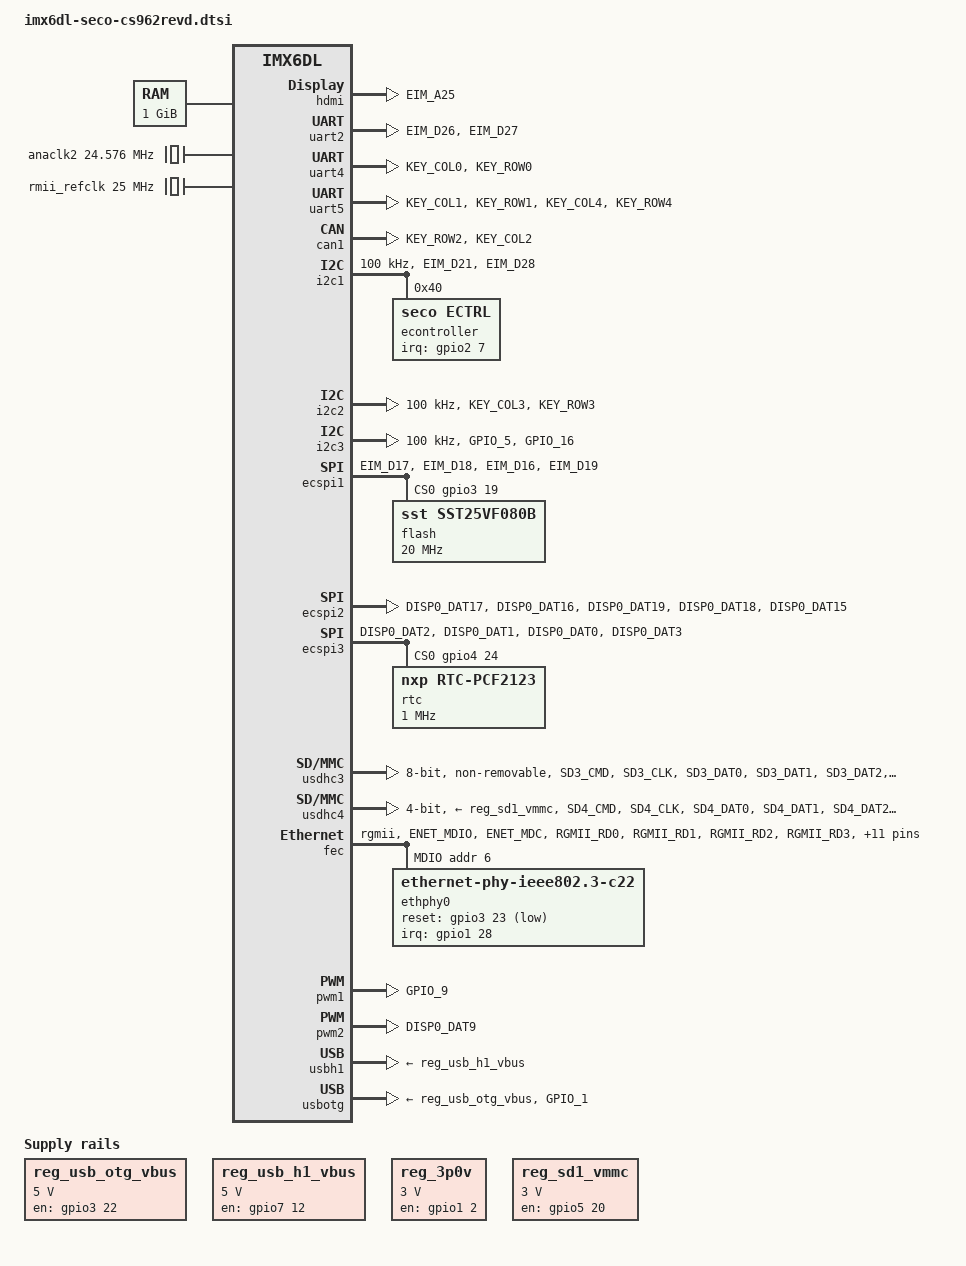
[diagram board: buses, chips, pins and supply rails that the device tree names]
// SPDX-License-Identifier: GPL-2.0 OR X11
/*
* Copyright 2019 Amotus Solutions, Inc.
*/

#include <dt-bindings/gpio/gpio.h>
#include <dt-bindings/seco/ectrl.h>
#include <dt-bindings/clock/imx6qdl-clock.h>

#include "imx6dl.dtsi"

/ {
	chosen {
		stdout-path = &uart2;
	};

	memory@10000000 {
		reg = <0x10000000 0x40000000>;
	};

	regulators {
		pinctrl-names = "default";
		pinctrl-0 = <&pinctrl_regulators>;

		compatible = "simple-bus";
		#address-cells = <1>;
		#size-cells = <0>;

		reg_usb_otg_vbus: regulator@0 {
			compatible = "regulator-fixed";
			reg = <0>;
			regulator-name = "usb_otg_vbus";
			regulator-min-microvolt = <5000000>;
			regulator-max-microvolt = <5000000>;
			gpio = <&gpio3 22 GPIO_ACTIVE_HIGH>;
			enable-active-high;
		};

		reg_usb_h1_vbus: regulator@1 {
			compatible = "regulator-fixed";
			reg = <1>;
			regulator-name = "usb_h1_vbus";
			pinctrl-0 = <&pinctrl_usb_reg>;
			regulator-min-microvolt = <5000000>;
			regulator-max-microvolt = <5000000>;
			gpio = <&gpio7 12 GPIO_ACTIVE_HIGH>;
			enable-active-high;
			startup-delay-us = <10>; /* USB2514 requires a POR of 1 us minimum */
		};

		reg_3p0v: regulator@2 {
			compatible = "regulator-fixed";
			reg = <2>;
			regulator-name = "panel";
			regulator-min-microvolt = <3000000>;
			regulator-max-microvolt = <3000000>;
			gpio = <&gpio1 2 GPIO_ACTIVE_HIGH>;
			enable-active-high;
			regulator-boot-on;
			regulator-always-on;
		};

		reg_sd1_vmmc: regulator@3 {
			compatible = "regulator-fixed";
			reg = <3>;
			regulator-name = "sd1_vmmc";
			regulator-min-microvolt = <3000000>;
			regulator-max-microvolt = <3000000>;
			gpio = <&gpio5 20 GPIO_ACTIVE_HIGH>;
			enable-active-high;
			startup-delay-us = <200000>;
			off-on-delay = <20000>;
		};
	};

	clocks {
		anaclk2: oscillator { /* on-board 24.576MHz audio oscillator */
			compatible = "fixed-clock";
			#clock-cells = <0>;
			clock-frequency = <24576000>;
		};

		rmii_refclk: crystal {
			compatible = "fixed-clock";
			#clock-cells = <0>;
			clock-frequency = <25000000>;
			clock-output-names = "rmii-ref";
		};		
	};
};

&hdmi {
	pinctrl-names = "default";
	pinctrl-0 = <&pinctrl_hdmi_cec>;
	ddc-i2c-bus = <&i2c2>;
};

/*  debug  */
&uart2 {
	pinctrl-names = "default";
	pinctrl-0 = <&pinctrl_uart2>;
};

&uart4 {
	pinctrl-names = "default";
	pinctrl-0 = <&pinctrl_uart4>;
};

&uart5 {
	pinctrl-names = "default";
	pinctrl-0 = <&pinctrl_uart5>;
	uart-has-rtscts;
};

&can1 {
	pinctrl-names = "default";
	pinctrl-0 = <&pinctrl_flexcan1>;
};

/* SoC to msp430 connection */
&i2c1 {
	clock-frequency = <100000>;
	pinctrl-names = "default";
	pinctrl-0 = <&pinctrl_i2c1>;
	status = "okay";

	econtroller: ectrl@40 {
		compatible = "seco,ectrl";
		reg = <0x40>;
		interrupt-parent = <&gpio2>;
		interrupts = <7 IRQ_TYPE_EDGE_FALLING>;

		events = <
		ECTRL_EVNT_PWR_BTN
		ECTRL_EVNT_RST_BTN
		ECTRL_EVNT_SLEEP
		ECTRL_EVNT_BATTERY
		ECTRL_EVNT_WAKE
		>;

		boot_device {
			bootdev@0 {
				id = <ECTRL_BOOTDEV_USDHC1>;
				label = "external SD";
			};
			bootdev@1 {
				id = <ECTRL_BOOTDEV_EMMC>;
				label = "on board eMMC";
			};
			bootdev@2 {
				id = <ECTRL_BOOTDEV_SPI>;
				label = "on board SPI flash";
			};
		};
	};
};

/* EDID for HDMI monitor */
&i2c2 {
	clock-frequency = <100000>;
	pinctrl-names = "default";
	pinctrl-0 = <&pinctrl_i2c2>;
};

/* Use by sgtl5000 codec (if installed) */
&i2c3 {
	clock-frequency = <100000>;
	pinctrl-names = "default";
	pinctrl-0 = <&pinctrl_i2c3>;
};

&ecspi1 {
	fsl,spi-num-chipselects = <1>;
	cs-gpios = <&gpio3 19 GPIO_ACTIVE_HIGH>;
	pinctrl-names = "default";
	pinctrl-0 = <&pinctrl_ecspi1>;
	status = "okay";

	flash: m25p80@0 {
		#address-cells = <1>;
		#size-cells = <0>;
		compatible = "sst,sst25vf080b", "jedec,spi-nor";
		spi-max-frequency = <20000000>;
		reg = <0>;
	};
};

/* available on QSeven connector */
&ecspi2 {
	fsl,spi-num-chipselects = <2>;
	cs-gpios = <&gpio5 12 GPIO_ACTIVE_LOW>, <&gpio5 9 GPIO_ACTIVE_LOW>;
	pinctrl-names = "default";
	pinctrl-0 = <&pinctrl_ecspi2>;
};

&ecspi3 {
	fsl,spi-num-chipselects = <1>;
	cs-gpios = <&gpio4 24 GPIO_ACTIVE_HIGH>;
	pinctrl-names = "default";
	pinctrl-0 = <&pinctrl_ecspi3>;
	status = "okay";

	rtc: pcf2123@0 {
		compatible = "nxp,rtc-pcf2123";
		reg = <0>;
		spi-max-frequency = <1000000>;
		spi-cs-high;
	};
};

/* eMMC */
&usdhc3 {
	pinctrl-names = "default";
	pinctrl-0 = <&pinctrl_usdhc3>;
	bus-width = <8>;
	no-1-8-v;
	non-removable;
	keep-power-in-suspend;
	status = "okay";
};

/* uSD */
&usdhc4 {
	pinctrl-names = "default";
	pinctrl-0 = <&pinctrl_usdhc4>;
	cd-gpios = <&gpio2 6 GPIO_ACTIVE_LOW>;
	bus-width = <4>;
	vmmc-supply = <&reg_sd1_vmmc>;
	keep-power-in-suspend;
	enable-sdio-wakeup;
	no-1-8-v;
};

&fec {
	pinctrl-names = "default";
	pinctrl-0 = <&pinctrl_enet>;
	phy-mode = "rgmii";
	fsl,magic-packet;
	status = "okay";

	mdio {
		#address-cells = <1>;
		#size-cells = <0>;

		ethphy0: ethernet-phy@6 {
			compatible = "ethernet-phy-ieee802.3-c22";
			interrupt-parent = <&gpio1>;
			interrupts = <28 IRQ_TYPE_EDGE_FALLING>;
			clocks = <&rmii_refclk>;
			clock-names = "rmii-ref";
			reg = <6>;

			reset-gpios = <&gpio3 23 GPIO_ACTIVE_LOW>;
			reset-assert-us = <1000>;
			reset-deassert-us = <1000>; /* min: 100us */
		};
	};
};

/* Available on QSeven connector */
&pwm1 {
	pinctrl-names = "default";
	pinctrl-0 = <&pinctrl_pwm1>;
};

/* Available on QSeven connector */
&pwm2 {
	pinctrl-names = "default";
	pinctrl-0 = <&pinctrl_pwm2>;
};

&usbh1 {
	vbus-supply = <&reg_usb_h1_vbus>;
	status = "okay";
};

&usbotg {
	vbus-supply = <&reg_usb_otg_vbus>;
	pinctrl-names = "default";
	pinctrl-0 = <&pinctrl_usbotg>;
	disable-over-current;
	status = "okay";
};

&clks {
	assigned-clocks = <&clks IMX6QDL_CLK_PLL4_POST_DIV>;
	assigned-clock-rates = <24576000>;
};

&iomuxc {
	pinctrl-names = "default";
	pinctrl-0 = <&pinctrl_hog>;

	imx6dl-seco-cs962revd {
		pinctrl_hog: hoggrp {
			fsl,pins = <
			MX6QDL_PAD_NANDF_D7__GPIO2_IO07              0x1f071 /* ectrl irq */
			MX6QDL_PAD_NANDF_D4__GPIO2_IO04              0x1f071 /* power msp430 */
			MX6QDL_PAD_SD1_DAT0__GPIO1_IO16              0x1f071 /* GPIO0 (pin 185) */
			MX6QDL_PAD_SD1_DAT1__GPIO1_IO17              0x1f071 /* GPIO1 (pin 186) */
			MX6QDL_PAD_SD1_DAT2__GPIO1_IO19              0x1f071 /* GPIO2 (pin 187) */
			MX6QDL_PAD_SD1_DAT3__GPIO1_IO21              0x1f071 /* GPIO3 (pin 188) */
			MX6QDL_PAD_SD1_CLK__GPIO1_IO20               0x1f071 /* GPIO4 (pin 189) */
			MX6QDL_PAD_SD1_CMD__GPIO1_IO18               0x1f071 /* GPIO5 (pin 190) */
			MX6QDL_PAD_NANDF_CS1__GPIO6_IO14             0x1f071 /* GPIO6 (pin 191) */
			MX6QDL_PAD_NANDF_CS2__GPIO6_IO15             0x1f071 /* GPIO7 (pin 192) */
			>;
		};

		pinctrl_regulators: regulatorsgrp {
			fsl,pins = <
			MX6QDL_PAD_GPIO_2__GPIO1_IO02                0x1f071
			MX6QDL_PAD_EIM_D22__GPIO3_IO22               0x1f071
			MX6QDL_PAD_GPIO_17__GPIO7_IO12               0x1f071
			>;
		};

		pinctrl_uart2: uart2grp {
			fsl,pins = <
			MX6QDL_PAD_EIM_D26__UART2_TX_DATA            0x1b0b1
			MX6QDL_PAD_EIM_D27__UART2_RX_DATA            0x1b0b1
			>;
		};

		pinctrl_uart4: uart4grp {
			fsl,pins = <
			MX6QDL_PAD_KEY_COL0__UART4_TX_DATA           0x1b0b1
			MX6QDL_PAD_KEY_ROW0__UART4_RX_DATA           0x1b0b1
			>;
		};

		pinctrl_flexcan1: flexcan1grp {
			fsl,pins = <
			MX6QDL_PAD_KEY_ROW2__FLEXCAN1_RX             0x80000000
			MX6QDL_PAD_KEY_COL2__FLEXCAN1_TX             0x80000000
			>;
		};

		pinctrl_uart5: uart5grp {
			fsl,pins = <
			MX6QDL_PAD_KEY_COL1__UART5_TX_DATA           0x1b0b1
			MX6QDL_PAD_KEY_ROW1__UART5_RX_DATA           0x1b0b1
			MX6QDL_PAD_KEY_COL4__UART5_RTS_B             0x1b0b1
			MX6QDL_PAD_KEY_ROW4__UART5_CTS_B             0x1b0b1

			>;
		};

		pinctrl_i2c1: i2c1grp {
			fsl,pins = <
			MX6QDL_PAD_EIM_D21__I2C1_SCL                 0x4001b8b1
			MX6QDL_PAD_EIM_D28__I2C1_SDA                 0x4001b8b1
			>;
		};

		pinctrl_i2c2: i2c2grp {
			fsl,pins = <
			MX6QDL_PAD_KEY_COL3__I2C2_SCL                0x4001b8b1
			MX6QDL_PAD_KEY_ROW3__I2C2_SDA                0x4001b8b1
			>;
		};

		pinctrl_i2c3: i2c3grp {
			fsl,pins = <
			MX6QDL_PAD_GPIO_5__I2C3_SCL                  0x4001b8b1
			MX6QDL_PAD_GPIO_16__I2C3_SDA                 0x4001b8b1
			>;
		};

		pinctrl_ecspi1: ecspi1grp {
			fsl,pins = <
			MX6QDL_PAD_EIM_D17__ECSPI1_MISO              0x100b1
			MX6QDL_PAD_EIM_D18__ECSPI1_MOSI              0x100b1
			MX6QDL_PAD_EIM_D16__ECSPI1_SCLK              0x100b1
			MX6QDL_PAD_EIM_D19__GPIO3_IO19               0x80000000 /* CS: sst25vf080b */

			>;
		};

		pinctrl_ecspi2: ecspi2grp {
			fsl,pins = <
			MX6QDL_PAD_DISP0_DAT17__ECSPI2_MISO          0x100b1
			MX6QDL_PAD_DISP0_DAT16__ECSPI2_MOSI          0x100b1
			MX6QDL_PAD_DISP0_DAT19__ECSPI2_SCLK          0x100b1
			MX6QDL_PAD_DISP0_DAT18__GPIO5_IO12           0x80000000 /* CS spi2 */
			MX6QDL_PAD_DISP0_DAT15__GPIO5_IO09           0x80000000 /* CS spi2 */
			>;
		};

		pinctrl_ecspi3: ecspi3grp {
			fsl,pins = <
			MX6QDL_PAD_DISP0_DAT2__ECSPI3_MISO           0x100b1
			MX6QDL_PAD_DISP0_DAT1__ECSPI3_MOSI           0x100b1
			MX6QDL_PAD_DISP0_DAT0__ECSPI3_SCLK           0x100b1
			MX6QDL_PAD_DISP0_DAT3__GPIO4_IO24            0x80000000 /* CS: rtc */
			>;
		};

		pinctrl_usdhc3: usdhc3grp {
			fsl,pins = <
			MX6QDL_PAD_SD3_CMD__SD3_CMD                  0x17059
			MX6QDL_PAD_SD3_CLK__SD3_CLK                  0x10059
			MX6QDL_PAD_SD3_DAT0__SD3_DATA0               0x17059
			MX6QDL_PAD_SD3_DAT1__SD3_DATA1               0x17059
			MX6QDL_PAD_SD3_DAT2__SD3_DATA2               0x17059
			MX6QDL_PAD_SD3_DAT3__SD3_DATA3               0x17059
			MX6QDL_PAD_SD3_DAT4__SD3_DATA4               0x17059
			MX6QDL_PAD_SD3_DAT5__SD3_DATA5               0x17059
			MX6QDL_PAD_SD3_DAT6__SD3_DATA6               0x17059
			MX6QDL_PAD_SD3_DAT7__SD3_DATA7               0x17059
			MX6QDL_PAD_SD3_RST__SD3_RESET                0x17059
			>;
		};

		pinctrl_usdhc4: usdhc4grp {
			fsl,pins = <
			MX6QDL_PAD_SD4_CMD__SD4_CMD                  0x17059
			MX6QDL_PAD_SD4_CLK__SD4_CLK                  0x10059
			MX6QDL_PAD_SD4_DAT0__SD4_DATA0               0x17059
			MX6QDL_PAD_SD4_DAT1__SD4_DATA1               0x17059
			MX6QDL_PAD_SD4_DAT2__SD4_DATA2               0x17059
			MX6QDL_PAD_SD4_DAT3__SD4_DATA3               0x17059
			MX6QDL_PAD_NANDF_D6__GPIO2_IO06              0x17059 /* CD */
			MX6QDL_PAD_CSI0_DATA_EN__GPIO5_IO20          0x17059 /* reg_sd1_vmmc */
			MX6QDL_PAD_NANDF_D5__GPIO2_IO05              0x17059 /*  */
			>;
		};

		pinctrl_enet: enetgrp {
			fsl,pins = <
			MX6QDL_PAD_ENET_MDIO__ENET_MDIO              0x1b0b0
			MX6QDL_PAD_ENET_MDC__ENET_MDC                0x1b0b0
			MX6QDL_PAD_RGMII_RD0__RGMII_RD0              0x1b0b0
			MX6QDL_PAD_RGMII_RD1__RGMII_RD1              0x1b0b0
			MX6QDL_PAD_RGMII_RD2__RGMII_RD2              0x1b0b0
			MX6QDL_PAD_RGMII_RD3__RGMII_RD3              0x1b0b0
			MX6QDL_PAD_RGMII_RX_CTL__RGMII_RX_CTL        0x1b0b0
			MX6QDL_PAD_RGMII_TD0__RGMII_TD0              0x1b0b0
			MX6QDL_PAD_RGMII_TD1__RGMII_TD1              0x1b0b0
			MX6QDL_PAD_RGMII_TD2__RGMII_TD2              0x1b0b0
			MX6QDL_PAD_RGMII_TD3__RGMII_TD3              0x1b0b0
			MX6QDL_PAD_RGMII_TX_CTL__RGMII_TX_CTL        0x1b0b0
			MX6QDL_PAD_RGMII_RXC__RGMII_RXC              0x1b0b0
			MX6QDL_PAD_RGMII_TXC__RGMII_TXC              0x1b0b0
			MX6QDL_PAD_ENET_REF_CLK__ENET_TX_CLK         0x1b0b0
			MX6QDL_PAD_ENET_TX_EN__GPIO1_IO28            0x1f071 /* phy int */
			MX6QDL_PAD_EIM_D23__GPIO3_IO23               0x1f071 /* phy reset */
			>;
		};

		pinctrl_pwm1: pwm1grp {
			fsl,pins = <
			MX6QDL_PAD_GPIO_9__PWM1_OUT                  0x1b0b1
			>;
		};

		pinctrl_pwm2: pwm2grp {
			fsl,pins = <
			MX6QDL_PAD_DISP0_DAT9__PWM2_OUT	     	     0x1b0b1
			>;
		};

		pinctrl_usb_h1: usbh1grp {
			fsl,pins = <
			MX6QDL_PAD_NANDF_CS2__CCM_CLKO2              0x130b0
			>;
		};

		pinctrl_usbotg: usbotggrp {
			fsl,pins = <
			MX6QDL_PAD_GPIO_1__USB_OTG_ID                0x17059
			>;
		};

		pinctrl_usb_reg: usbreggrp {
			fsl,pins = <
			MX6QDL_PAD_GPIO_17__GPIO7_IO12               0x1b0b0
			>;
		};		

		pinctrl_hdmi_cec: hdmicecgrp {
			fsl,pins = <
			MX6QDL_PAD_EIM_A25__HDMI_TX_CEC_LINE	     0x1f8b0
			>;
		};
	};
};
